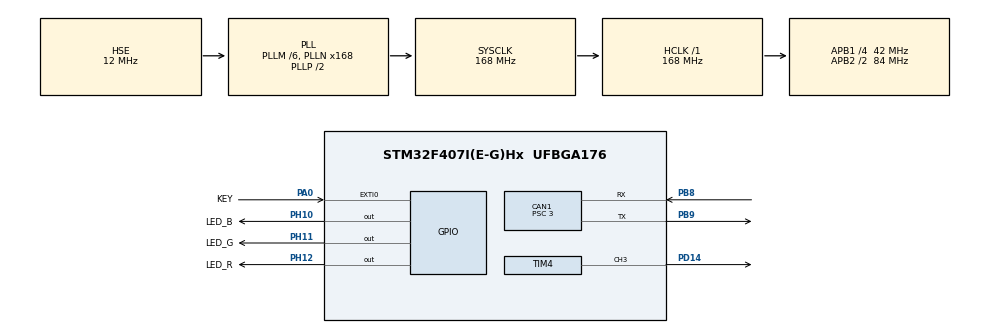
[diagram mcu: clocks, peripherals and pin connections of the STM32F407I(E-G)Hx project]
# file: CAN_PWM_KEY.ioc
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CAN1.BS1=CAN_BS1_10TQ
CAN1.BS2=CAN_BS2_3TQ
CAN1.CalculateBaudRate=1000000
CAN1.CalculateTimeBit=1000
CAN1.CalculateTimeQuantum=71.42857142857143
CAN1.Mode=CAN_MODE_LOOPBACK
CAN1.Prescaler=3
Mcu.Family=STM32F4
Mcu.Name=STM32F407I(E-G)Hx
Mcu.Package=UFBGA176
NVIC.CAN1_RX0_IRQn=true\:0\:0\:false\:false\:true\:true\:true\:true
NVIC.CAN1_RX1_IRQn=true\:0\:0\:false\:false\:true\:true\:true\:true
NVIC.EXTI0_IRQn=true\:0\:0\:false\:false\:true\:true\:true\:true
NVIC.PriorityGroup=NVIC_PRIORITYGROUP_4
PA0-WKUP.GPIO_Label=KEY
PA0-WKUP.GPIO_ModeDefaultEXTI=GPIO_MODE_IT_RISING_FALLING
PA0-WKUP.GPIO_PuPd=GPIO_PULLUP
PA0-WKUP.Signal=GPXTI0
PA13.Mode=Serial_Wire
PA13.Signal=SYS_JTMS-SWDIO
PA14.Mode=Serial_Wire
PA14.Signal=SYS_JTCK-SWCLK
PB8.Mode=CAN_Activate
PB8.Signal=CAN1_RX
PB9.Mode=CAN_Activate
PB9.Signal=CAN1_TX
PD14.Signal=S_TIM4_CH3
PH0-OSC_IN.Mode=HSE-External-Oscillator
PH0-OSC_IN.Signal=RCC_OSC_IN
PH1-OSC_OUT.Mode=HSE-External-Oscillator
PH1-OSC_OUT.Signal=RCC_OSC_OUT
PH10.GPIO_Label=LED_B
PH10.GPIO_PuPd=GPIO_PULLUP
PH10.PinState=GPIO_PIN_SET
PH10.Signal=GPIO_Output
PH11.GPIO_Label=LED_G
PH11.GPIO_PuPd=GPIO_PULLUP
PH11.PinState=GPIO_PIN_SET
PH11.Signal=GPIO_Output
PH12.GPIO_Label=LED_R
PH12.GPIO_PuPd=GPIO_PULLUP
PH12.PinState=GPIO_PIN_SET
PH12.Signal=GPIO_Output
ProjectManager.HeapSize=0x200
ProjectManager.StackSize=0x400
ProjectManager.TargetToolchain=MDK-ARM V5.32
RCC.48MHZClocksFreq_Value=84000000
RCC.AHBFreq_Value=168000000
RCC.APB1CLKDivider=RCC_HCLK_DIV4
RCC.APB1Freq_Value=42000000
RCC.APB1TimFreq_Value=84000000
RCC.APB2CLKDivider=RCC_HCLK_DIV2
RCC.APB2Freq_Value=84000000
RCC.APB2TimFreq_Value=168000000
RCC.CortexFreq_Value=168000000
RCC.HCLKFreq_Value=168000000
RCC.HSE_VALUE=12000000
RCC.HSI_VALUE=16000000
RCC.LSE_VALUE=32768
RCC.PLLM=6
RCC.PLLN=168
RCC.PLLSourceVirtual=RCC_PLLSOURCE_HSE
RCC.SYSCLKFreq_VALUE=168000000
RCC.SYSCLKSource=RCC_SYSCLKSOURCE_PLLCLK
RCC.VCOOutputFreq_Value=336000000
SH.S_TIM4_CH3.0=TIM4_CH3,PWM Generation3 CH3
TIM4.Channel-PWM\ Generation3\ CH3=TIM_CHANNEL_3
TIM4.Period=20999
VP_TIM4_VS_ClockSourceINT.Mode=Internal
board=custom

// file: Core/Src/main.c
/* USER CODE BEGIN Header */
/**
  ******************************************************************************
  * @file           : main.c
  * @brief          : Main program body
  ******************************************************************************
  * @attention
  *
  * Copyright (c) 2025 STMicroelectronics.
  * All rights reserved.
  *
  * This software is licensed under terms that can be found in the LICENSE file
  * in the root directory of this software component.
  * If no LICENSE file comes with this software, it is provided AS-IS.
  *
  ******************************************************************************
  */
/* USER CODE END Header */
#include "main.h"
#include "can.h"
#include "tim.h"
#include "gpio.h"

/* USER CODE BEGIN Includes */
#include "CAN1.h"
#include "LED.h"
#include "KEY.h"
#include "BUZZER.h"
/* USER CODE END Includes */

/* USER CODE BEGIN PM */
// �˲������?
#define CAN_FILTER(x) ((x) << 3)

// ���ն���
#define CAN_FIFO_0 (0 << 2)
#define CAN_FIFO_1 (1 << 2)

//��׼֡����չ֡
#define CAN_STDID (0 << 1)
#define CAN_EXTID (1 << 1)

// ����֡��ң��֡
#define CAN_DATA_TYPE (0 << 0)
#define CAN_REMOTE_TYPE (1 << 0)
/* USER CODE END PM */

void SystemClock_Config(void);

/* USER CODE BEGIN 0 */
uint8_t keynum = 0;
uint8_t mode = 0;
uint16_t i;
/* USER CODE END 0 */

int main(void)
{

  /* MCU Configuration--------------------------------------------------------*/

  /* Reset of all peripherals, Initializes the Flash interface and the Systick. */
  HAL_Init();

  /* Configure the system clock */
  SystemClock_Config();

  /* Initialize all configured peripherals */
  MX_GPIO_Init();
  MX_CAN1_Init();
  MX_TIM4_Init();
  /* USER CODE BEGIN 2 */
  uint8_t Send_Data = 0;

  CAN_Init(&hcan1);
  CAN_Filter_Mask_Config(&hcan1, CAN_FILTER(13) | CAN_FIFO_1 | CAN_STDID | CAN_DATA_TYPE, 0x114, 0x7ff);
  HAL_TIM_Base_Start(&htim4);
  HAL_TIM_PWM_Start(&htim4,TIM_CHANNEL_3);
  /* USER CODE END 2 */

  /* Infinite loop */
  while (1)
  {

    /* USER CODE BEGIN 3 */

	  keynum = Key_GetNum();

	  if(keynum == 1)
	  {
		  mode ++;
	  }
	  if(mode > 4)
	  {
		  mode = 0;
	  }
	  switch(mode)
	  {
		  case 0:
		  HAL_GPIO_WritePin(LED_B_GPIO_Port,LED_B_Pin,GPIO_PIN_RESET);
		  HAL_GPIO_WritePin(LED_G_GPIO_Port,LED_G_Pin,GPIO_PIN_RESET);
		  HAL_GPIO_WritePin(LED_R_GPIO_Port,LED_R_Pin,GPIO_PIN_RESET);
		  BUZZER_OFF();
		  case 1:
		  Send_Data = 1;
		  break;
		  case 2:
		  Send_Data = 2;
		  break;
		  case 3:
		  Send_Data = 3;
		  break;
		  case 4:
		  for(i=1;i<=100;i++)
	      {
		      BUZZER_OPEN(i);
	      }
		  break;
	  }
      CAN_Send_Data(&hcan1, 0x114, &Send_Data, 1);
//	  HAL_Delay(1000);
  }
  /* USER CODE END 3 */
}

void SystemClock_Config(void)
{
  RCC_OscInitTypeDef RCC_OscInitStruct = {0};
  RCC_ClkInitTypeDef RCC_ClkInitStruct = {0};

  /** Configure the main internal regulator output voltage
  */
  __HAL_RCC_PWR_CLK_ENABLE();
  __HAL_PWR_VOLTAGESCALING_CONFIG(PWR_REGULATOR_VOLTAGE_SCALE1);

  /** Initializes the RCC Oscillators according to the specified parameters
  * in the RCC_OscInitTypeDef structure.
  */
  RCC_OscInitStruct.OscillatorType = RCC_OSCILLATORTYPE_HSE;
  RCC_OscInitStruct.HSEState = RCC_HSE_ON;
  RCC_OscInitStruct.PLL.PLLState = RCC_PLL_ON;
  RCC_OscInitStruct.PLL.PLLSource = RCC_PLLSOURCE_HSE;
  RCC_OscInitStruct.PLL.PLLM = 6;
  RCC_OscInitStruct.PLL.PLLN = 168;
  RCC_OscInitStruct.PLL.PLLP = RCC_PLLP_DIV2;
  RCC_OscInitStruct.PLL.PLLQ = 4;
  if (HAL_RCC_OscConfig(&RCC_OscInitStruct) != HAL_OK)
  {
    Error_Handler();
  }

  /** Initializes the CPU, AHB and APB buses clocks
  */
  RCC_ClkInitStruct.ClockType = RCC_CLOCKTYPE_HCLK|RCC_CLOCKTYPE_SYSCLK
                              |RCC_CLOCKTYPE_PCLK1|RCC_CLOCKTYPE_PCLK2;
  RCC_ClkInitStruct.SYSCLKSource = RCC_SYSCLKSOURCE_PLLCLK;
  RCC_ClkInitStruct.AHBCLKDivider = RCC_SYSCLK_DIV1;
  RCC_ClkInitStruct.APB1CLKDivider = RCC_HCLK_DIV4;
  RCC_ClkInitStruct.APB2CLKDivider = RCC_HCLK_DIV2;

  if (HAL_RCC_ClockConfig(&RCC_ClkInitStruct, FLASH_LATENCY_5) != HAL_OK)
  {
    Error_Handler();
  }
}

void Error_Handler(void)
{
  __disable_irq();
  while (1)
  {
  }
}
